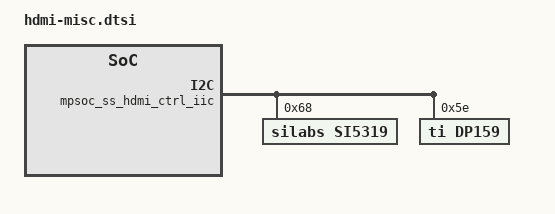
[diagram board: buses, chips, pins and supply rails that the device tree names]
&mpsoc_ss_hdmi_ctrl_iic {
	clocks = <&vid_s_axi_clk>;
	/* Si5319 i2c clock generator */
	si5319: clock-generator@68 {
		status = "okay";
		compatible = "silabs,si5319";
		reg = <0x68>;
		#address-cells = <1>;
		#size-cells = <0>;
		#clock-cells = <1>;

		/* input clock(s); the XTAL is hard-wired on the ZCU102 board */
		clocks = <&refhdmi>;
		clock-names = "xtal";

		/* output clocks */
		clk0 {
			reg = <0>;
			/* HDMI TX reference clock output frequency */
			clock-frequency = <27000000>;
		};
	};

	/* DP159 exposes a virtual CCF clock. Upon .set_rate(), it adapts its retiming/driving behaviour */
	dp159: hdmi-retimer@5e {
		status = "okay";
		compatible = "ti,dp159";
		reg = <0x5e>;
		#address-cells = <1>;
		#size-cells = <0>;
		#clock-cells = <0>;
	};
};

